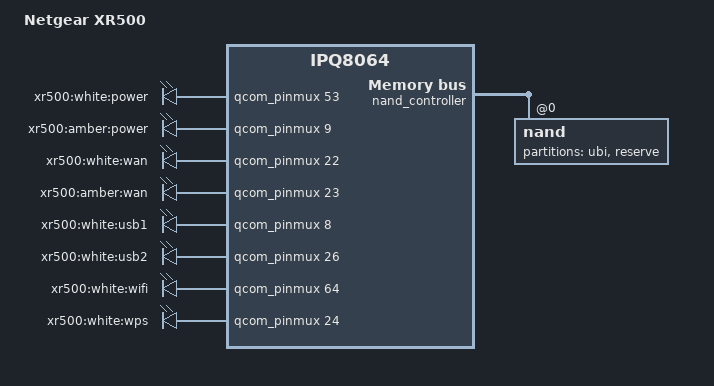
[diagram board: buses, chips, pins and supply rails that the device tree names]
// SPDX-License-Identifier: GPL-2.0-or-later OR MIT
#include "qcom-ipq8065-nighthawk.dtsi"

/ {
	model = "Netgear XR500";
	compatible = "netgear,xr500", "qcom,ipq8065", "qcom,ipq8064";
	
	aliases {
		led-boot = &led_power_white;
		led-failsafe = &led_power_amber;
		led-running = &led_power_white;
		led-upgrade = &led_power_amber;
	};

	leds {
		
		led_power_white: power_white {
			label = "xr500:white:power";
			gpios = <&qcom_pinmux 53 GPIO_ACTIVE_HIGH>;
			default-state = "keep";
		};

		led_power_amber: power_amber {
			label = "xr500:amber:power";
			gpios = <&qcom_pinmux 9 GPIO_ACTIVE_HIGH>;
		};

		wan_white {
			label = "xr500:white:wan";
			gpios = <&qcom_pinmux 22 GPIO_ACTIVE_HIGH>;
		};

		wan_amber {
			label = "xr500:amber:wan";
			gpios = <&qcom_pinmux 23 GPIO_ACTIVE_HIGH>;
		};

		usb1 {
			label = "xr500:white:usb1";
			gpios = <&qcom_pinmux 8 GPIO_ACTIVE_HIGH>;
		};

		usb2 {
			label = "xr500:white:usb2";
			gpios = <&qcom_pinmux 26 GPIO_ACTIVE_HIGH>;
		};

		wifi {
			label = "xr500:white:wifi";
			gpios = <&qcom_pinmux 64 GPIO_ACTIVE_HIGH>;
		};

		wps {
			label = "xr500:white:wps";
			gpios = <&qcom_pinmux 24 GPIO_ACTIVE_HIGH>;
		};

	};
};

&nand_controller {
	nand@0 {
		partitions {			
			ubi@1880000 {
				label = "ubi";
				reg = <0x1880000 0xce00000>;
			};

			reserve@e680000 {
				label = "reserve";
				reg = <0xe680000 0x0780000>;
				read-only;
			};
		};
	};
};
